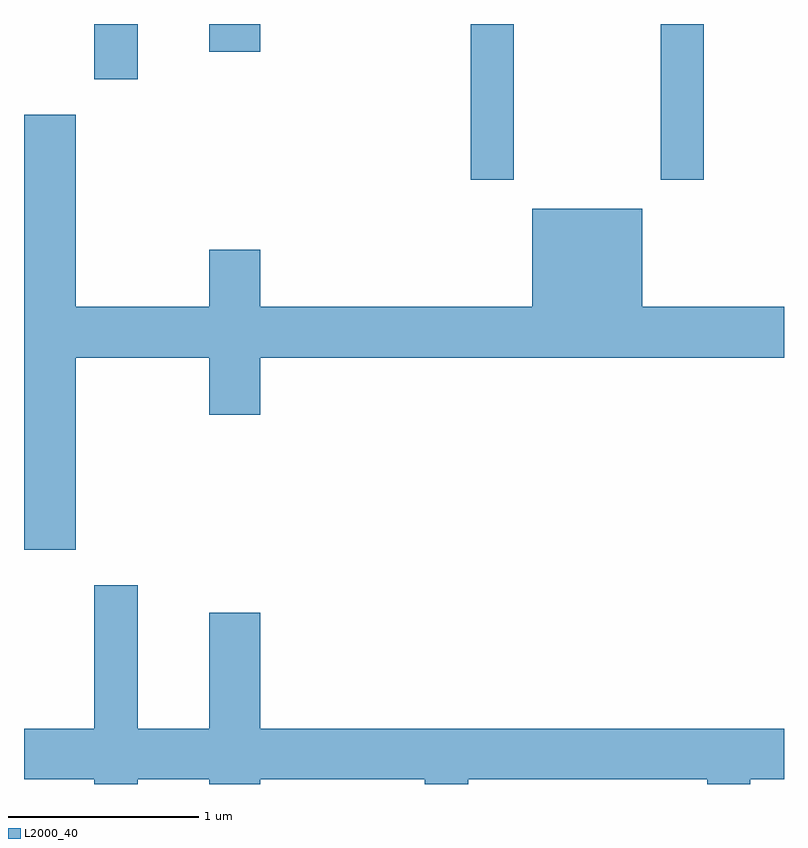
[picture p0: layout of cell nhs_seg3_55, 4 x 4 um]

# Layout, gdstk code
import gdstk
lib = gdstk.Library(unit=1e-6, precision=1e-09)
def R(c, l, rs):  # rectangles x0, y0, x1, y1
    for r in rs: c.add(gdstk.rectangle(r[:2], r[2:], *l))
def P(c, l, *ps):  # polygons
    for p in ps: c.add(gdstk.Polygon(p, *l))
L2000_40 = (2000, 40)

nhs_seg3_55 = lib.new_cell('nhs_seg3_55')
R(nhs_seg3_55, L2000_40, [(187.961,1229.071,188.189,1229.892), (188.961,1229.071,189.189,1229.892), (185.981,1229.601,186.209,1229.892), (186.586,1229.746,186.854,1229.892)])
P(nhs_seg3_55, L2000_40, [(185.884,1228.136),(186.586,1228.136),(186.586,1227.836),(186.854,1227.836),(186.854,1228.136),(189.611,1228.136),(189.611,1228.404),(188.864,1228.404),(188.864,1228.919),(188.286,1228.919),(188.286,1228.404),(186.854,1228.404),(186.854,1228.704),(186.586,1228.704),(186.586,1228.404),(185.884,1228.404),(185.884,1229.414),(185.611,1229.414),(185.611,1227.126),(185.884,1227.126)],
  [(186.209,1225.916),(186.586,1225.916),(186.586,1225.892),(186.854,1225.892),(186.854,1225.916),(187.721,1225.916),(187.721,1225.892),(187.949,1225.892),(187.949,1225.916),(189.206,1225.916),(189.206,1225.892),(189.434,1225.892),(189.434,1225.916),(189.611,1225.916),(189.611,1226.184),(186.854,1226.184),(186.854,1226.794),(186.586,1226.794),(186.586,1226.184),(186.209,1226.184),(186.209,1226.939),(185.981,1226.939),(185.981,1226.184),(185.611,1226.184),(185.611,1225.916),(185.981,1225.916),(185.981,1225.892),(186.209,1225.892)])

lib.write_gds('nhs_seg3_55.gds')
